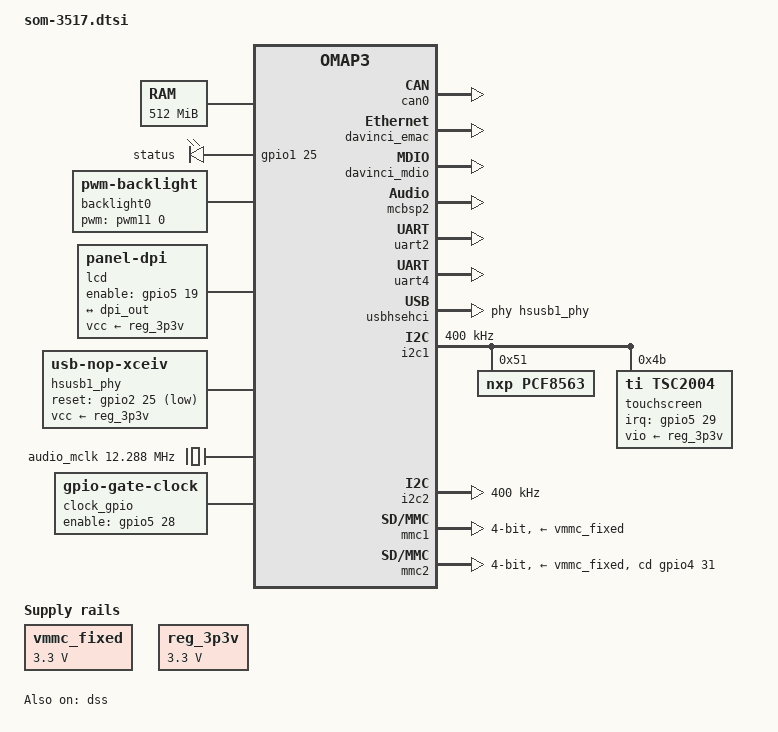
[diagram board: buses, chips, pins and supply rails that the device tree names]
/*
 * Copyright (C) 2017 EMAC Inc. - www.emacinc.com
 *
 * This program is free software; you can redistribute it and/or modify
 * it under the terms of the GNU General Public License version 2 as
 * published by the Free Software Foundation.
 */

#include "am3517.dtsi"

/ {
	compatible = "emac,som3517", "ti,am3517", "ti,omap3";

	memory {
		device_type = "memory";
		reg = <0x80000000 0x20000000>; /* 512 MB */
	};

	leds {
		compatible = "gpio-leds";

		status {
			label = "status";
			gpios = <&gpio1 25 GPIO_ACTIVE_HIGH>;
			default-state = "on";
		};
	};

	vmmc_fixed: vmmc {
		compatible = "regulator-fixed";
		regulator-name = "vmmc_fixed";
		regulator-min-microvolt = <3300000>;
		regulator-max-microvolt = <3300000>;
        };

	aliases {
		display0 = &lcd0;
	};

	backlight0: backlight {
		compatible = "pwm-backlight";
		pwms = <&pwm11 0 12000000 0>;
		pwm-names = "backlight";
		brightness-levels = <0 11 20 30 40 50 60 70 80 90 100>;
		default-brightness-level = <9>;	/* => 90 */
		pinctrl-names = "default";
		pinctrl-0 = <&backlight_pins>;
	};

	pwm10: dmtimer-pwm10 {
		compatible = "ti,omap-dmtimer-pwm";
		ti,timers = <&timer10>;
		#pwm-cells = <3>;
	};

	pwm9: dmtimer-pwm9 {
		compatible = "ti,omap-dmtimer-pwm";
		ti,timers = <&timer9>;
		#pwm-cells = <3>;
	};

	pwm11: dmtimer-pwm {
		compatible = "ti,omap-dmtimer-pwm";
		ti,timers = <&timer11>;
		#pwm-cells = <3>;
	};

	lcd0: display {
		compatible = "panel-dpi";
		vcc-supply = <&reg_3p3v>;
		label = "lcd";
		panel-timing {
			clock-frequency = <9000000>;

			hback-porch = <1>;
			hactive = <480>;
			hfront-porch = <44>;
			hsync-len = <45>;

			vback-porch = <1>;
			vactive = <272>;
			vfront-porch = <13>;
			vsync-len = <14>;

			hsync-active = <0>;
			vsync-active = <0>;
			de-active = <1>;
			pixelclk-active = <1>;
		};

		port {
			lcd_in: endpoint {
				remote-endpoint = <&dpi_out>;
			};
		};
	};

	reg_3p3v: vcc3 {
		compatible = "regulator-fixed";
		regulator-name = "3P3V";
		regulator-min-microvolt = <3300000>;
		regulator-max-microvolt = <3300000>;
		regulator-always-on;
	};

	hsusb1_phy: hsusb1_phy {
		compatible = "usb-nop-xceiv";
		vcc-supply = <&reg_3p3v>;
		reset-gpios = <&gpio2 25 GPIO_ACTIVE_LOW>;      /* gpio_57 */
       };

	clocks {
		#address-cells = <1>;
		#size-cells = <0>;

		audio_mclk: audio_mclk {
			compatible = "fixed-clock";
			#clock-cells = <0>;
			clock-frequency = <12288000>;
			clock-output-names = "mclk";
		};
	};

	clock_gpio: clock_gpio {
		compatible = "gpio-gate-clock";
		clocks = <&audio_mclk>;
		#clock-cells = <0>;
		enable-gpios = <&gpio5 28 GPIO_ACTIVE_HIGH>;
	};

};

&omap3_pmx_core {
	pinctrl-names = "default";

	mcspi1_pins: pinmux_mcspi1_pins {
		pinctrl-single,pins = <
			OMAP3_CORE1_IOPAD(0x21c8, PIN_INPUT | MUX_MODE0)	/* mcspi1_clk.mcspi1_clk */
			OMAP3_CORE1_IOPAD(0x21ca, PIN_OUTPUT | MUX_MODE0)	/* mcspi1_simo.mcspi1_simo */
			OMAP3_CORE1_IOPAD(0x21cc, PIN_INPUT_PULLUP | MUX_MODE0)	/* mcspi1_somi.mcspi1_somi */
			OMAP3_CORE1_IOPAD(0x21ce, PIN_OUTPUT | MUX_MODE0)	/* mcspi1_cs0.mcspi1_cs0 */
		>;
	};

	uart2_pins: pinxmux_uart2_pins {
		pinctrl-single,pins = <
			OMAP3_CORE1_IOPAD(0x216c, PIN_INPUT | MUX_MODE4)	    /* mcbsp3_dx.uart2_cts */
			OMAP3_CORE1_IOPAD(0x216e, PIN_OUTPUT_PULLUP | MUX_MODE4)    /* mcbsp3_dr.uart2_rts */
			OMAP3_CORE1_IOPAD(0x2170, PIN_OUTPUT_PULLUP | MUX_MODE1)    /* mcbsp3_clk.uart2_tx */
			OMAP3_CORE1_IOPAD(0x2172, PIN_INPUT_PULLUP | MUX_MODE1)	    /* mcbsp3_fsx.uart2_rx */
			OMAP3_CORE1_IOPAD(0x21c6, PIN_OUTPUT | MUX_MODE4)   /* hdq_sio.gpio_170 */
			OMAP3_CORE1_IOPAD(0x21c2, PIN_OUTPUT | MUX_MODE4)   /* i2c3_scl.gpio_184 */
			OMAP3_CORE1_IOPAD(0x21c4, PIN_OUTPUT | MUX_MODE4)   /* i2c3_sda.gpio_185 */
		>;
	};

	uart4_pins: pinxmux_uart4_pins {
		pinctrl-single,pins = <
			OMAP3_CORE1_IOPAD(0x20CE, PIN_OUTPUT_PULLUP | MUX_MODE1)  /* gmpc_wait1.uart4_tx*/
			OMAP3_CORE1_IOPAD(0x20D0, PIN_INPUT_PULLUP | MUX_MODE1)   /* gmpc_wait2.uart4_rx */
			OMAP3_CORE1_IOPAD(0x21E8, PIN_OUTPUT_PULLUP | MUX_MODE2)  /* ccdc_hd_simo.uart4_rts */
			OMAP3_CORE1_IOPAD(0x21EA, PIN_INPUT_PULLUP | MUX_MODE2)   /* ccdc_vd.uart4_cts */
		>;
	};

	otg_drv_vbus: pinmux_otg_drv_vbus {
		pinctrl-single,pins = <
			OMAP3_CORE1_IOPAD(0x21DA, PIN_OUTPUT | MUX_MODE4)
		>;
	};

	usb1_reset: pinmux_usb1_reset {
		pinctrl-single,pins = <
			OMAP3_CORE1_IOPAD(0x20ba, PIN_OUTPUT | MUX_MODE4)   /* gpmc_ncs6.gpio_57 */
		>;
	};

	backlight_pins: pinmux_backlight_pins {
		pinctrl-single,pins = <
			OMAP3_CORE1_IOPAD(0x2174, PIN_OUTPUT | MUX_MODE2)  /* uart2_cts.gpt9_pwm_evt */
			OMAP3_CORE1_IOPAD(0x2176, PIN_OUTPUT | MUX_MODE2)  /* uart2_rts.gpt10_pwm_evt */
			OMAP3_CORE1_IOPAD(0x2178, PIN_OUTPUT | MUX_MODE2)  /* uart2_tx.gpt11_pwm_evt */
		>;
	};
};

&can0 {
	status = "okay";
};

&lcd0 {
	enable-gpios = <&gpio5 19 GPIO_ACTIVE_HIGH >;   /* gpio147 */
};

&dss {
	status = "okay";
	port {
		dpi_out: endpoint {
			remote-endpoint = <&lcd_in>;
			data-lines = <24>;
		};
	};
};

&davinci_emac {
	status = "okay";
};

&davinci_mdio {
	status = "okay";
};

&mcbsp1 {
	status = "disabled";
};

&mcbsp2 {
	#sound-dai-cells = <0>;
	status = "okay";
};

&uart2 {
	pinctrl-names = "default";
	pinctrl-0 = <&uart2_pins>;
	rts-gpio = <&gpio5 13 GPIO_ACTIVE_HIGH>;
	rs485-rts-active-high;
	rs485-rts-delay = <1 1>;
	status = "okay";
};

&uart4 {
	pinctrl-names = "default";
	pinctrl-0 = <&uart4_pins>;
	status = "okay";
};

&am35x_otg_hs {
	compatible = "ti,am35x-musb";
	reg = <0x5c040000 0x1000>;
	interrupts = <71>;
	interrupt-names = "mc";
	clocks = <&hsotgusb_ick_am35xx &hsotgusb_fck_am35xx>;
	clock-names = "ick", "fck";
	multipoint = <1>;
	num-eps = <16>;
	ram-bits = <12>;
	interface-type = <1>;
	mode = <2>;
	power = <50>;
	status = "disabled"; /* currently not supported */
	pinctrl-names = "default";
	pinctrl-0 = <&otg_drv_vbus>;
};

&usb_otg_hs {
	status = "disabled";
};

&usbhshost {
	port1-mode = "ehci-phy";
};

&usbhsehci {
	phys = <&hsusb1_phy>;
	pinctrl-names = "default";
	pinctrl-0 = <&usb1_reset>;
	status = "okay";
};

&i2c1 {
	clock-frequency = <400000>;

	pcf8563@51 {
		compatible = "nxp,pcf8563";
		reg = <0x51>;
	};

	touchscreen: tsc2004@4b {
		compatible = "ti,tsc2004";
		reg = <0x4b>;
		vio-supply = <&reg_3p3v>;
		interrupts-extended = <&gpio5 29 IRQ_TYPE_EDGE_FALLING>;
		status = "okay";

		touchscreen-fuzz-x = <4>;
		touchscreen-fuzz-y = <7>;
		touchscreen-fuzz-pressure = <2>;
		touchscreen-size-x = <4096>;
		touchscreen-size-y = <4096>;
		touchscreen-max-pressure = <400>;

		ti,x-plate-ohms = <850>;
		ti,esd-recovery-timeout-ms = <800>;
	};
};

&i2c2 {
	clock-frequency = <400000>;
	status="okay";
};

&i2c3 {
	status="disabled";
};

&mmc1 {
	vmmc-supply = <&vmmc_fixed>;
	bus-width = <4>;
	mmc-cap-mmc-highspeed;
	status = "okay";
	ti,non-removable;
};

&mmc2 {
	vmmc-supply = <&vmmc_fixed>;
	bus-width = <4>;
	status = "okay";
	cd-gpios = <&gpio4 31 IRQ_TYPE_LEVEL_LOW>;
};

&mmc3 {
	status = "disabled";
};
